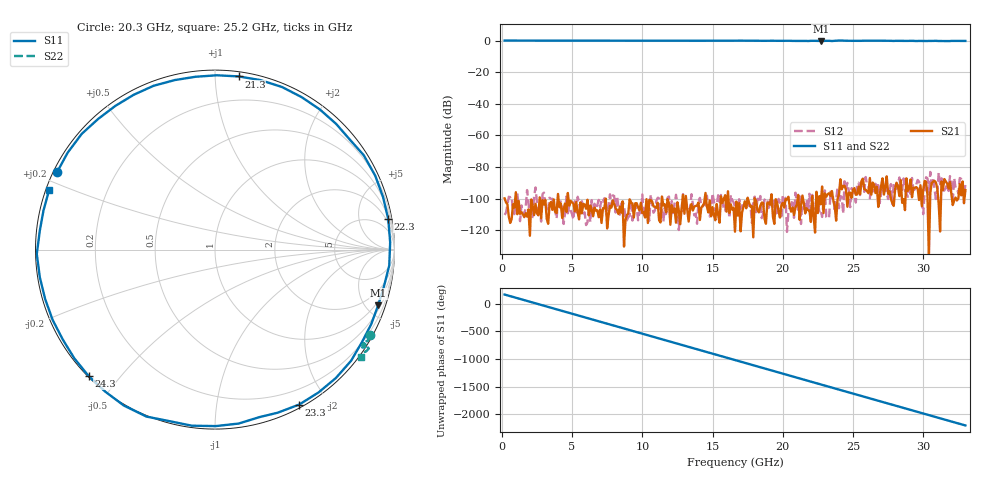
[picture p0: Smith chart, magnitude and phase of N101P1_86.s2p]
# GHZ S RI R 50
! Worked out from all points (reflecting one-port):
!   329 points, 200 MHz to 33 GHz, reference 50 ohm
!   lowest |S11| = -0.3 dB at 22.7 GHz (marker M1), VSWR 49.75, Z = 36.9 - j296 ohm
!   phase of S11 starts at 165 deg and turns -2367 deg over the sweep
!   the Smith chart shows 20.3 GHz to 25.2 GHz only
!   S11 on the Smith chart (normalised r, x): 20.3 GHz: 0.01, +0.23; 21.3 GHz: 0.03, +1.15; 22.3 GHz: 1, +11; 23.3 GHz: 0.03, -1.68; 24.3 GHz: 0.00, -0.41; 25.2 GHz: 0.01, +0.17
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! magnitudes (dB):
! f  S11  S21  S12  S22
! 200 MHz  0.0  -99.7  -110.2  0.0
! 5.7 GHz  -0.1  -109.1  -101.5  0.0
! 11.2 GHz  -0.2  -113.7  -99.8  0.0
! 16.6 GHz  0.0  -120.8  -104.9  0.0
! 20.3 GHz  -0.2  -100.4  -120.9  -0.1
! 21.3 GHz  -0.2  -104.1  -115.9  -0.1
! 22.1 GHz  -0.1  -98.2  -97.5  0.0
! 22.3 GHz  -0.2  -121.3  -105.9  -0.1
! 22.7 GHz  -0.3  -103.5  -106.9  -0.2
! 23.3 GHz  -0.2  -96.4  -112.0  0.0
! 23.5 GHz  -0.3  -95.1  -99.6  -0.2
! 24 GHz  0.0  -97.3  -106.0  0.2
! 24.3 GHz  0.0  -91.9  -109.4  0.0
! 25.2 GHz  -0.2  -97.5  -102.3  0.1
! 26.1 GHz  -0.1  -96.4  -91.7  0.1
! 26.6 GHz  -0.1  -96.4  -90.5  -0.1
! 27.6 GHz  -0.1  -95.1  -94.8  0.0
! 28.6 GHz  -0.3  -100.2  -87.2  -0.2
! 30.4 GHz  -0.3  -137.0  -97.4  -0.1
! 31.8 GHz  -0.3  -93.6  -95.1  -0.3
! 32.1 GHz  -0.2  -103.9  -103.3  -0.1
! 33 GHz  -0.2  -94.5  -91.3  -0.1
